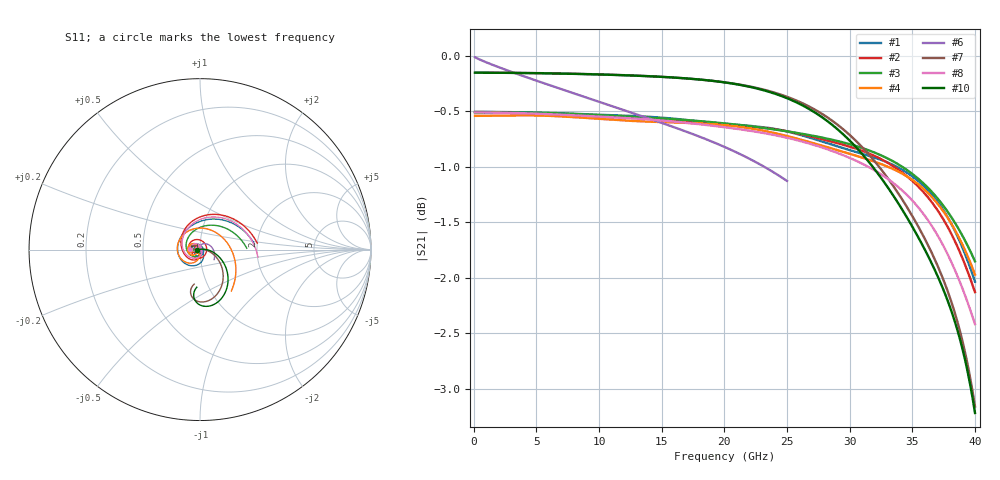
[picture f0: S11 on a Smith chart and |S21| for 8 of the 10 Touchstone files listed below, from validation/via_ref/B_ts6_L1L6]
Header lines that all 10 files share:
# Hz S RI R 50
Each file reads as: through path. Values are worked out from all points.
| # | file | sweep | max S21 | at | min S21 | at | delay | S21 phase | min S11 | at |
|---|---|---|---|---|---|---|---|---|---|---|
| 1 | cst.s2p | 100 MHz to 40 GHz | -0.51 dB | 200 MHz | -2.0 dB | 40 GHz | 54.6 ps | -28 deg at 20.1 GHz | -49.0 dB | 23.4 GHz |
| 2 | cst_fine.s2p | 100 MHz to 40 GHz | -0.51 dB | 200 MHz | -2.1 dB | 40 GHz | 54.9 ps | -29 deg at 20.1 GHz | -52.8 dB | 23.6 GHz |
| 3 | kisi.s2p | 100 MHz to 40 GHz | -0.51 dB | 2.1 GHz | -1.9 dB | 40 GHz | 54.8 ps | -29 deg at 20.1 GHz | -52.4 dB | 8.3 GHz |
| 4 | kisi_base.s2p | 100 MHz to 40 GHz | -0.54 dB | 3.9 GHz | -2.0 dB | 40 GHz | 56.6 ps | -42 deg at 20.1 GHz | -53.8 dB | 18.4 GHz |
| 5 | kisi_deembedded.s2p | 100 MHz to 40 GHz | -0.11 dB | 5.9 GHz | -1.3 dB | 40 GHz | 11.1 ps | -74 deg at 20.1 GHz | -40.1 dB | 5.5 GHz |
| 6 | kisi_model.s2p | 100 MHz to 25 GHz | -0.01 dB | 100 MHz | -1.1 dB | 25 GHz | 53.1 ps | 121 deg at 12.6 GHz | -59.5 dB | 100 MHz |
| 7 | ladder.s2p | 100 MHz to 40 GHz | -0.15 dB | 100 MHz | -3.2 dB | 40 GHz | 13.7 ps | -77 deg at 20.1 GHz | -61.4 dB | 17.3 GHz |
| 8 | openems.s2p | 100 MHz to 40 GHz | -0.51 dB | 100 MHz | -2.4 dB | 40 GHz | 55.3 ps | -32 deg at 20.1 GHz | -63.1 dB | 22 GHz |
| 9 | openems_base.s2p | 100 MHz to 40 GHz | -0.55 dB | 100 MHz | -2.7 dB | 40 GHz | 57.4 ps | -47 deg at 20.1 GHz | -50.3 dB | 22.1 GHz |
| 10 | pbm.s2p | 100 MHz to 40 GHz | -0.15 dB | 100 MHz | -3.2 dB | 40 GHz | 13.2 ps | -74 deg at 20.1 GHz | -57.8 dB | 17.7 GHz |
